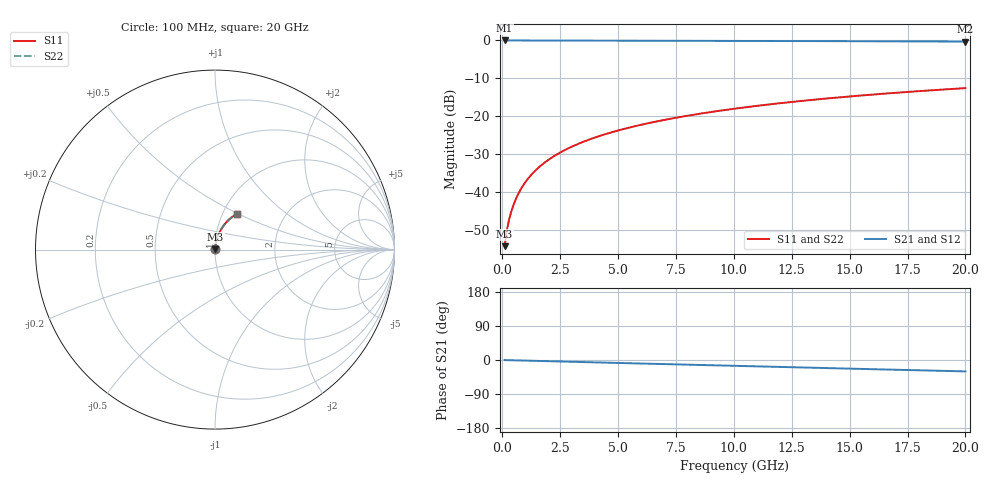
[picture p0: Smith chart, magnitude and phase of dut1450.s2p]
! Touchstone file exported from HFSS 2026.1.0
!  File:  C:/ffzhzh/LocalFiles/Ansys_Project_Files/temp_train_BSMRDL_1450_1783180711_55132.aedt
!  Generated:  11:59:56 PM Jul  4, 2026
!  Design:  BSMRDL
!  Project:  temp_train_BSMRDL_1450_1783180711_55132
! Variables:
!  h_bsmrdl = 5.27um
!  h_ox = 20um
!  h_rdl = 5um
!  h_sub = 80um
!  h_tmrdl = 5um
!  h_tsv = 80um
!  h_via = 3um
!  l_bsmrdl = 447.44um
!  l_sub = 847.44um
!  l_tmrdl = 200um
!  m_sub = 200um
!  pitch = 52.22um
!  r_tsv = 6um
!  s_tmrdl = 10um
!  w_bsmrdl = 29.01um
!  w_sub = 500um
!  w_tmrdl = 12um
!  x_tsv_center1 = 206um
!  x_tsv_center2 = 682.45um
!  x_tsv_center3 = 894.45um
!  x_tsv_center4 = 1370.9um
!  x_tsv_center5 = 1582.9um
!  x_tsv_center6 = 2059.35um
# GHz S MA R 50.000000
! Terminal data exported
! Port[1] = BSM_RDL1_1_T1
! Port[2] = BSM_RDL1_1_T2
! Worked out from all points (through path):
!   200 points, 100 MHz to 20 GHz, reference 50 ohm
!   highest |S21| = -0.01 dB at 100 MHz (marker M1); lowest = -0.3 dB at 20 GHz (marker M2)
!   group delay of S21, straight-line fit = 4.17 ps
!   lowest |S11| = -54.2 dB at 100 MHz (marker M3), VSWR 1.00, Z = 50.1 + j0.151 ohm
!   |S11| at or under -10 dB: start of sweep to end of sweep
!   |S22| runs from -54.2 to -12.6 dB; largest |S21 - S12| = 2.7e-15
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0.1  0.001953 50.3  0.9988 -0.2  0.9988 -0.2  0.001953 50.3
! Gamma 0 0 0 0
! Port Impedance 50 0 50 0
0.2  0.003192 64.4  0.9986 -0.3  0.9986 -0.3  0.003192 64.4
0.3  0.004458 70.7  0.9986 -0.5  0.9986 -0.5  0.004458 70.7
0.4  0.005742 74.3  0.9985 -0.6  0.9985 -0.6  0.005742 74.3
0.5  0.007042 76.7  0.9985 -0.8  0.9985 -0.8  0.007042 76.7
0.7  0.009672 79.4  0.9984 -1.1  0.9984 -1.1  0.009672 79.4
0.8  0.011 80.3  0.9983 -1.3  0.9983 -1.3  0.011 80.3
1  0.01365 81.3  0.9982 -1.6  0.9982 -1.6  0.01365 81.3
1.2  0.01631 81.9  0.9981 -1.9  0.9981 -1.9  0.01631 81.9
1.4  0.01896 82.2  0.998 -2.2  0.998 -2.2  0.01896 82.2
1.7  0.02292 82.4  0.9978 -2.7  0.9978 -2.7  0.02292 82.4
2  0.02687 82.3  0.9975 -3.2  0.9975 -3.2  0.02687 82.3
2.7  0.03598 81.8  0.9968 -4.2  0.9968 -4.2  0.03598 81.8
3.5  0.04625 80.9  0.996 -5.5  0.996 -5.5  0.04625 80.9
4.2  0.05511 80.0  0.9952 -6.6  0.9952 -6.6  0.05511 80.0
5  0.06514 79.0  0.9942 -7.8  0.9942 -7.8  0.06514 79.0
6.8  0.08735 76.6  0.9918 -10.5  0.9918 -10.5  0.08735 76.6
8.3  0.1055 74.5  0.9895 -12.8  0.9895 -12.8  0.1055 74.5
10.1  0.127 72.0  0.9865 -15.5  0.9865 -15.5  0.127 72.1
13.4  0.165 67.4  0.9801 -20.4  0.9801 -20.4  0.165 67.4
16.7  0.2012 62.8  0.9728 -25.3  0.9728 -25.3  0.2012 62.8
20  0.2353 58.2  0.9646 -30.1  0.9646 -30.1  0.2353 58.2
